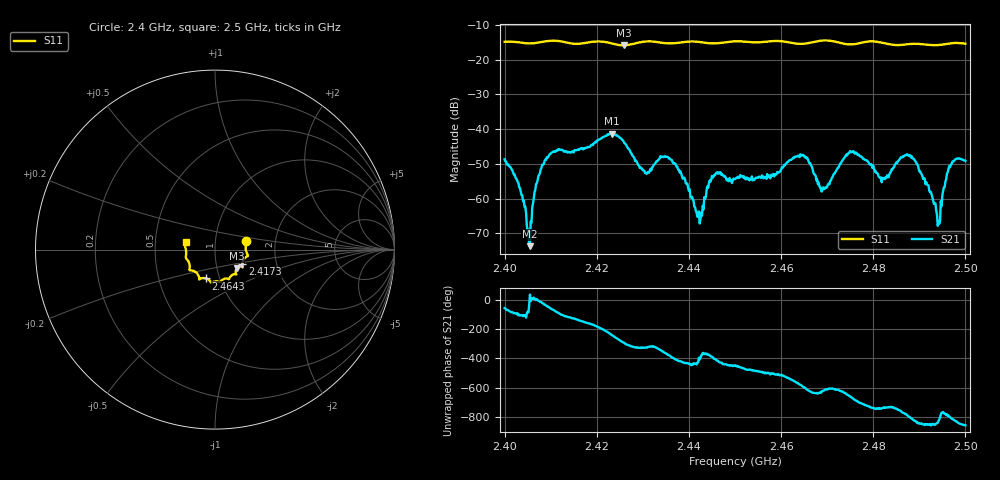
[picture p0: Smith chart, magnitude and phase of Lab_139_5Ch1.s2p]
# Hz S RI R 50
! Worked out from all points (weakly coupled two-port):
!   601 points, 2.4 GHz to 2.5 GHz, reference 50 ohm
!   highest |S21| = -41.30 dB at 2.4233 GHz (marker M1); lowest = -73.7 dB at 2.4055 GHz (marker M2)
!   lowest |S11| = -15.9 dB at 2.4258 GHz (marker M3), VSWR 1.38, Z = 62.3 - j13.2 ohm
!   |S11| at or under -10 dB: start of sweep to end of sweep
!   S12 and S22 are empty: the file has one direction only
!   S11 on the Smith chart (normalised r, x): 2.4 GHz: 1.41, +0.14; 2.4173 GHz: 1.34, -0.23; 2.4643 GHz: 0.86, -0.28; 2.5 GHz: 0.72, +0.06
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2.4e9  0.1732 0.0495  0.00203 -0.00306  0 0  0 0
2.4055e9  0.1704 0.00751  0.000166 0.000122  0 0  0 0
2.408667e9  0.1806 -0.0261  0.00289 -0.00191  0 0  0 0
2.416667e9  0.153 -0.0746  -0.00436 -0.00307  0 0  0 0
2.417333e9  0.1523 -0.082  -0.00461 -0.00246  0 0  0 0
2.423333e9  0.1426 -0.0933  -0.00415 0.00755  0 0  0 0
2.425833e9  0.122 -0.1034  0.00246 0.00612  0 0  0 0
2.4305e9  0.1187 -0.1376  0.00192 0.00133  0 0  0 0
2.433333e9  0.1129 -0.1371  0.00322 0.00158  0 0  0 0
2.437333e9  0.0855 -0.1506  0.00186 -0.00217  0 0  0 0
2.442333e9  0.0733 -0.1633  0.0003 -0.000319  0 0  0 0
2.4455e9  0.0517 -0.1628  0.00158 -0.0015  0 0  0 0
2.45e9  0.0294 -0.1806  0.000102 -0.00189  0 0  0 0
2.464333e9  -0.0498 -0.1606  -0.00315 0.00285  0 0  0 0
2.466667e9  -0.0758 -0.1597  4.36e-05 0.00289  0 0  0 0
2.469e9  -0.0875 -0.1664  -0.000153 0.0014  0 0  0 0
2.475167e9  -0.1077 -0.1252  0.00271 0.00389  0 0  0 0
2.483333e9  -0.1408 -0.0899  0.00197 -0.000449  0 0  0 0
2.488333e9  -0.161 -0.0489  -3.56e-05 -0.00406  0 0  0 0
2.494e9  -0.1618 -0.00176  -0.000196 -0.000355  0 0  0 0
2.496833e9  -0.1695 0.025  0.000201 -0.00307  0 0  0 0
2.5e9  -0.1639 0.0422  -0.00253 -0.00238  0 0  0 0
